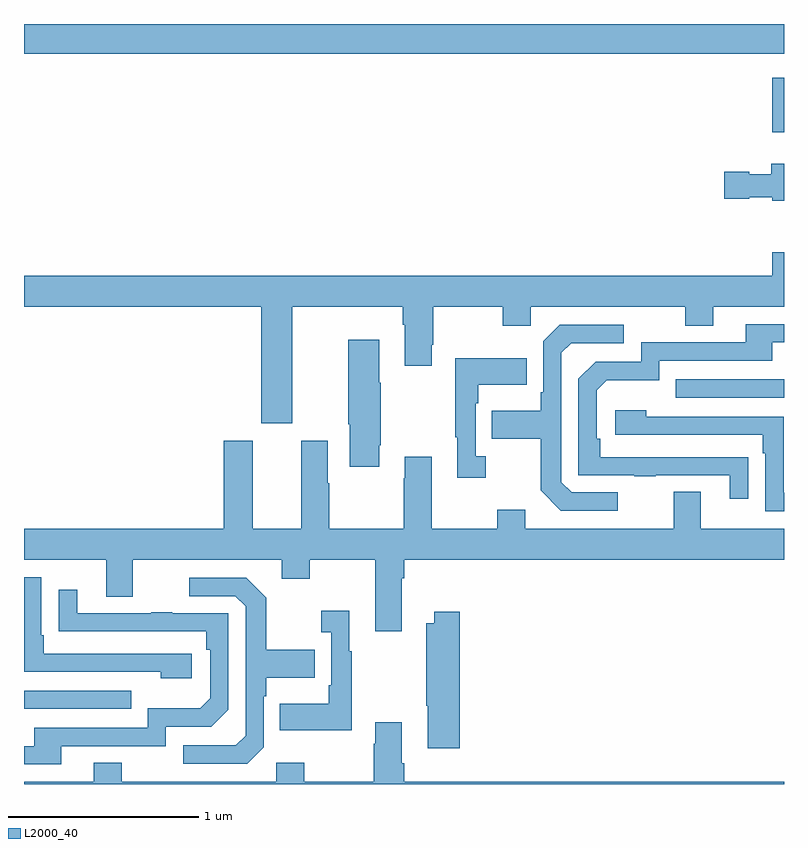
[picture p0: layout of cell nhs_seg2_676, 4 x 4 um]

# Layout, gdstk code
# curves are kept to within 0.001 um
import gdstk
lib = gdstk.Library(unit=1e-6, precision=1e-09)
def R(c, l, rs):  # rectangles x0, y0, x1, y1
    for r in rs: c.add(gdstk.rectangle(r[:2], r[2:], *l))
def P(c, l, *ps):  # polygons
    for p in ps: c.add(gdstk.Polygon(p, *l))
L2000_40 = (2000, 40)

nhs_seg2_676 = lib.new_cell('nhs_seg2_676')
R(nhs_seg2_676, L2000_40, [(145,636.195,145.565,636.291), (148.429,637.833,149,637.929), (148.937,639.23,149,639.517), (145,639.644,149,639.8)])
P(nhs_seg2_676, L2000_40, [(149,639.064),(148.934,639.064),(148.934,639.01),(148.818,639.01),(148.818,639.023),(148.686,639.023),(148.686,638.881),(148.818,638.881),(148.818,638.888),(148.938,638.888),(148.938,638.87),(149,638.87)],
  [(146.413,638.312),(146.993,638.312),(146.993,638.216),(147.005,638.216),(147.005,638.001),(147.145,638.001),(147.145,638.113),(147.153,638.113),(147.153,638.312),(147.52,638.312),(147.52,638.213),(147.666,638.213),(147.666,638.312),(148.48,638.312),(148.48,638.213),(148.627,638.213),(148.627,638.312),(149,638.312),(149,638.6),(148.937,638.6),(148.937,638.476),(145,638.476),(145,638.312),(146.249,638.312),(146.249,637.698),(146.413,637.698)],
  [(148.811,637.52),(148.034,637.521),(148.034,637.618),(148.014,637.618),(148.014,637.872),(148.067,637.925),(148.344,637.925),(148.344,638.028),(148.939,638.028),(148.939,638.124),(149,638.124),(149,638.22),(148.799,638.22),(148.799,638.124),(148.248,638.124),(148.248,638.022),(148.008,638.022),(147.918,637.932),(147.918,637.425),(148.213,637.425),(148.213,637.42),(148.325,637.42),(148.325,637.425),(148.715,637.425),(148.715,637.302),(148.811,637.302)],
  [(148.126,637.335),(147.882,637.335),(147.828,637.389),(147.828,638.07),(147.879,638.121),(148.156,638.121),(148.156,638.217),(147.819,638.217),(147.732,638.13),(147.732,637.861),(147.72,637.861),(147.72,637.765),(147.463,637.765),(147.463,637.618),(147.72,637.618),(147.72,637.345),(147.825,637.239),(148.126,637.239)],
  [(146.869,637.582),(146.877,637.582),(146.877,637.913),(146.869,637.913),(146.869,638.137),(146.707,638.137),(146.707,637.693),(146.714,637.693),(146.714,637.47),(146.869,637.47)],
  [(147.43,637.526),(147.378,637.526),(147.378,637.805),(147.391,637.805),(147.391,637.901),(147.647,637.901),(147.647,638.041),(147.27,638.041),(147.27,637.625),(147.281,637.625),(147.281,637.413),(147.43,637.413)],
  [(149,637.332),(148.998,637.332),(148.998,637.734),(148.274,637.734),(148.274,637.768),(148.113,637.768),(148.113,637.638),(148.889,637.638),(148.889,637.541),(148.902,637.541),(148.902,637.236),(149,637.236)],
  [(146.989,636.884),(147.002,636.884),(147.002,636.98),(149,636.98),(149,637.144),(148.561,637.144),(148.561,637.339),(148.421,637.339),(148.421,637.144),(147.637,637.144),(147.637,637.243),(147.49,637.243),(147.49,637.144),(147.145,637.144),(147.145,637.522),(147.005,637.522),(147.005,637.409),(146.998,637.409),(146.998,637.144),(146.607,637.144),(146.607,637.382),(146.599,637.382),(146.599,637.606),(146.459,637.606),(146.459,637.144),(146.203,637.144),(146.203,637.606),(146.051,637.606),(146.051,637.144),(145,637.144),(145,636.98),(145.433,636.98),(145.433,636.786),(145.573,636.786),(145.573,636.98),(146.357,636.98),(146.357,636.881),(146.505,636.881),(146.505,636.98),(146.849,636.98),(146.849,636.603),(146.989,636.603)],
  [(145.882,636.486),(145.105,636.486),(145.105,636.583),(145.092,636.583),(145.092,636.888),(145,636.888),(145,636.39),(145.721,636.39),(145.721,636.356),(145.882,636.356)],
  [(146.262,635.994),(146.262,636.263),(146.275,636.263),(146.275,636.359),(146.531,636.359),(146.531,636.507),(146.275,636.507),(146.275,636.779),(146.169,636.885),(145.869,636.885),(145.869,636.789),(146.112,636.789),(146.166,636.735),(146.166,636.054),(146.115,636.003),(145.839,636.003),(145.839,635.907),(146.175,635.907)],
  [(145.195,636),(145.746,636),(145.746,636.102),(145.986,636.102),(146.076,636.192),(146.076,636.699),(145.781,636.699),(145.781,636.704),(145.669,636.704),(145.669,636.699),(145.279,636.699),(145.279,636.823),(145.183,636.823),(145.183,636.604),(145.96,636.603),(145.96,636.506),(145.98,636.506),(145.98,636.252),(145.927,636.199),(145.65,636.199),(145.65,636.096),(145.055,636.096),(145.055,636),(145,636),(145,635.904),(145.195,635.904)],
  [(146.725,636.499),(146.713,636.499),(146.713,636.712),(146.565,636.712),(146.565,636.599),(146.616,636.599),(146.616,636.319),(146.604,636.319),(146.604,636.223),(146.347,636.223),(146.347,636.083),(146.725,636.083)],
  [(147.293,636.706),(147.158,636.706),(147.158,636.646),(147.118,636.646),(147.118,636.211),(147.125,636.211),(147.125,635.988),(147.293,635.988)],
  [(149,635.812),(147.002,635.812),(147.002,635.908),(146.989,635.908),(146.989,636.124),(146.849,636.124),(146.849,636.011),(146.842,636.011),(146.842,635.812),(146.475,635.812),(146.475,635.911),(146.328,635.911),(146.328,635.812),(145.515,635.812),(145.515,635.911),(145.367,635.911),(145.367,635.812),(145,635.812),(145,635.8),(149,635.8)])

lib.write_gds('nhs_seg2_676.gds')
